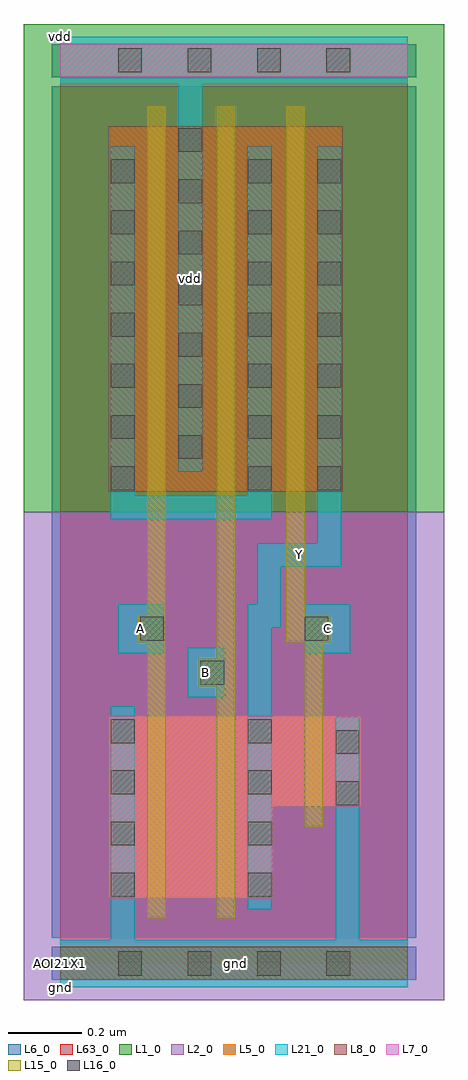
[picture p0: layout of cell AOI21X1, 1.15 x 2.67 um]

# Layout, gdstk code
import gdstk
lib = gdstk.Library(unit=1e-6, precision=1e-09)
def R(c, l, rs):  # rectangles x0, y0, x1, y1
    for r in rs: c.add(gdstk.rectangle(r[:2], r[2:], *l))
def A(c, l, x, y, w, h, nx, ny, dx, dy):  # array of equal rectangles
    R(c, l, [(x+i*dx, y+j*dy, x+i*dx+w, y+j*dy+h) for i in range(nx) for j in range(ny)])
def P(c, l, *ps):  # polygons
    for p in ps: c.add(gdstk.Polygon(p, *l))
L1_0 = (1, 0)
L2_0 = (2, 0)
L5_0 = (5, 0)
L6_0 = (6, 0)
L7_0 = (7, 0)
L8_0 = (8, 0)
L15_0 = (15, 0)
L16_0 = (16, 0)
L21_0 = (21, 0)
L63_0 = (63, 0)

aoi21x1 = lib.new_cell('AOI21X1')
R(aoi21x1, L1_0, [(-0.1,1.235,1.05,2.57)])
R(aoi21x1, L2_0, [(-0.1,-0.1,1.05,1.235)])
A(aoi21x1, L5_0, 0.238, 1.29, 0.05, 1, 3, 1, 0.19, 0)
R(aoi21x1, L5_0, [(0,-0.045,0.95,0.045), (0.133,0.178,0.238,0.678), (0.238,0.178,0.288,0.678), (0.288,0.178,0.428,0.678), (0.428,0.178,0.478,0.678), (0.668,0.428,0.718,0.678), (0.718,0.428,0.823,0.678), (0.133,1.29,0.238,2.29), (0.288,1.29,0.428,2.29), (0.478,1.29,0.618,2.29), (0.668,1.29,0.773,2.29), (0,2.425,0.95,2.515)])
P(aoi21x1, L5_0, [(0.668,0.678),(0.668,0.428),(0.583,0.428),(0.583,0.178),(0.478,0.178),(0.478,0.678)])
R(aoi21x1, L6_0, [(-0.023,-0.045,0.973,0.045), (-0.023,-0.045,0.973,0.045), (-0.023,0.07,0.973,1.235), (-0.023,1.235,0.973,2.4), (-0.023,2.425,0.973,2.515), (-0.023,2.425,0.973,2.515)])
R(aoi21x1, L7_0, [(0.133,0.178,0.238,0.678), (0.238,0.178,0.288,0.678), (0.288,0.178,0.428,0.678), (0.428,0.178,0.478,0.678), (0.668,0.428,0.718,0.678), (0.718,0.428,0.823,0.678), (0,2.425,0.95,2.515)])
P(aoi21x1, L7_0, [(0.668,0.678),(0.668,0.428),(0.583,0.428),(0.583,0.178),(0.478,0.178),(0.478,0.678)])
A(aoi21x1, L8_0, 0.238, 1.29, 0.05, 1, 3, 1, 0.19, 0)
R(aoi21x1, L8_0, [(0,-0.045,0.95,0.045), (0.133,1.29,0.238,2.29), (0.288,1.29,0.428,2.29), (0.478,1.29,0.618,2.29), (0.668,1.29,0.773,2.29)])
A(aoi21x1, L15_0, 0.238, 1.29, 0.05, 1, 3, 1, 0.19, 0)
A(aoi21x1, L15_0, 0.238, 2.29, 0.05, 0.055, 3, 1, 0.19, 0)
R(aoi21x1, L15_0, [(0.238,0.123,0.288,0.178), (0.428,0.123,0.478,0.178), (0.238,0.178,0.288,0.678), (0.428,0.178,0.478,0.678), (0.668,0.373,0.718,0.428), (0.668,0.428,0.718,0.678)])
P(aoi21x1, L15_0, [(0.238,0.878),(0.213,0.878),(0.213,0.953),(0.238,0.953),(0.238,1.29),(0.288,1.29),(0.288,0.678),(0.238,0.678)],
  [(0.428,0.758),(0.378,0.758),(0.378,0.833),(0.428,0.833),(0.428,1.29),(0.478,1.29),(0.478,0.678),(0.428,0.678)],
  [(0.668,0.878),(0.618,0.878),(0.618,1.29),(0.668,1.29),(0.668,0.953),(0.738,0.953),(0.738,0.878),(0.718,0.878),(0.718,0.678),(0.668,0.678)])
A(aoi21x1, L16_0, 0.158, -0.033, 0.065, 0.066, 4, 1, 0.19, 0)
A(aoi21x1, L16_0, 0.138, 0.183, 0.065, 0.065, 1, 4, 0, 0.14)
A(aoi21x1, L16_0, 0.513, 0.183, 0.065, 0.065, 1, 4, 0, 0.14)
A(aoi21x1, L16_0, 0.138, 1.295, 0.065, 0.065, 1, 7, 0, 0.14)
A(aoi21x1, L16_0, 0.513, 1.295, 0.065, 0.065, 1, 7, 0, 0.14)
A(aoi21x1, L16_0, 0.703, 1.295, 0.065, 0.065, 1, 7, 0, 0.14)
A(aoi21x1, L16_0, 0.323, 1.38, 0.065, 0.065, 1, 7, 0, 0.14)
A(aoi21x1, L16_0, 0.158, 2.438, 0.065, 0.065, 4, 1, 0.19, 0)
R(aoi21x1, L16_0, [(0.753,0.433,0.818,0.498), (0.753,0.573,0.818,0.638), (0.383,0.763,0.448,0.828), (0.218,0.883,0.283,0.948), (0.668,0.883,0.733,0.948)])
R(aoi21x1, L21_0, [(0.348,0.728,0.448,0.863), (0.158,0.848,0.283,0.983), (0.668,0.848,0.793,0.983)])
P(aoi21x1, L21_0, [(0,2.405),(0,2.535),(0.95,2.535),(0.95,2.405),(0.388,2.405),(0.388,1.345),(0.323,1.345),(0.323,2.405)],
  [(0,-0.065),(0,0.065),(0.138,0.065),(0.138,0.703),(0.203,0.703),(0.203,0.065),(0.753,0.065),(0.753,0.673),(0.818,0.673),(0.818,0.065),(0.95,0.065),(0.95,-0.065)],
  [(0.513,0.148),(0.513,0.983),(0.538,0.983),(0.538,1.15),(0.703,1.15),(0.703,2.235),(0.768,2.235),(0.768,1.085),(0.603,1.085),(0.603,0.918),(0.578,0.918),(0.578,0.148)],
  [(0.513,1.28),(0.513,2.235),(0.578,2.235),(0.578,1.215),(0.138,1.215),(0.138,2.235),(0.203,2.235),(0.203,1.28)])
R(aoi21x1, L63_0, [(0,0,0.95,2.47)])
aoi21x1.add(gdstk.Label('vdd', (0.355,1.875), layer=21, texttype=1))
aoi21x1.add(gdstk.Label('gnd', (0.478,0), layer=21, texttype=1))
aoi21x1.add(gdstk.Label('A', (0.22,0.915), layer=21, texttype=1))
aoi21x1.add(gdstk.Label('B', (0.398,0.795), layer=21, texttype=1))
aoi21x1.add(gdstk.Label('C', (0.73,0.915), layer=21, texttype=1))
aoi21x1.add(gdstk.Label('Y', (0.653,1.118), layer=21, texttype=1))
aoi21x1.add(gdstk.Label('vdd', (0,2.535), layer=21, texttype=2))
aoi21x1.add(gdstk.Label('gnd', (0,-0.065), layer=21, texttype=2))
aoi21x1.add(gdstk.Label('AOI21X1', (0,0), layer=63, texttype=1))

lib.write_gds('AOI21X1.gds')
